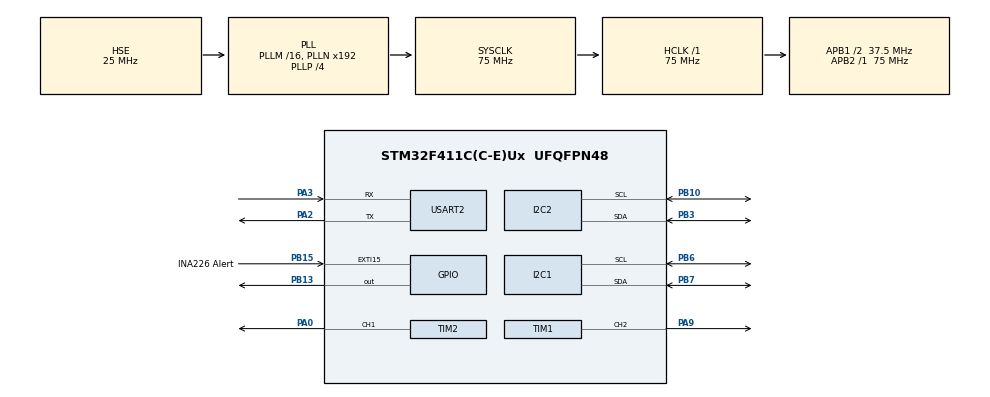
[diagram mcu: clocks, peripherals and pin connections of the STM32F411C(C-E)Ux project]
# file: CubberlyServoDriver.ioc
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FREERTOS.Tasks01=defaultTask,0,128,StartDefaultTask,Default,NULL,Dynamic,NULL,NULL;ina226Alert,-3,128,ina226AlertInit,Default,NULL,Dynamic,NULL,NULL
FREERTOS.configTIMER_TASK_PRIORITY=1
FREERTOS.configUSE_NEWLIB_REENTRANT=1
FREERTOS.configUSE_TIMERS=1
I2C1.OwnAddress=0x12
Mcu.Family=STM32F4
Mcu.Name=STM32F411C(C-E)Ux
Mcu.Package=UFQFPN48
NVIC.EXTI15_10_IRQn=true\:5\:0\:true\:false\:true\:true\:true\:true\:true
NVIC.I2C1_ER_IRQn=true\:5\:0\:false\:false\:true\:true\:true\:true\:true
NVIC.I2C1_EV_IRQn=true\:5\:0\:false\:false\:true\:true\:true\:true\:true
NVIC.I2C2_ER_IRQn=true\:5\:0\:false\:false\:true\:true\:true\:true\:true
NVIC.I2C2_EV_IRQn=true\:5\:0\:false\:false\:true\:true\:true\:true\:true
NVIC.PriorityGroup=NVIC_PRIORITYGROUP_4
NVIC.TIM5_IRQn=true\:15\:0\:false\:false\:true\:false\:false\:true\:true
NVIC.TimeBase=TIM5_IRQn
NVIC.TimeBaseIP=TIM5
PA0-WKUP.Signal=S_TIM2_CH1_ETR
PA2.Mode=Asynchronous
PA2.Signal=USART2_TX
PA3.Mode=Asynchronous
PA3.Signal=USART2_RX
PA9.Signal=S_TIM1_CH2
PB10.Mode=I2C
PB10.Signal=I2C2_SCL
PB13.GPIO_ModeDefaultOutputPP=GPIO_MODE_OUTPUT_PP
PB13.Signal=GPIO_Output
PB15.GPIO_Label=INA226 Alert
PB15.GPIO_ModeDefaultEXTI=GPIO_MODE_IT_FALLING
PB15.GPIO_PuPd=GPIO_PULLUP
PB15.Signal=GPXTI15
PB3.Mode=I2C
PB3.Signal=I2C2_SDA
PB6.Mode=I2C
PB6.Signal=I2C1_SCL
PB7.Mode=I2C
PB7.Signal=I2C1_SDA
PH0\ -\ OSC_IN.Mode=HSE-External-Oscillator
PH0\ -\ OSC_IN.Signal=RCC_OSC_IN
PH1\ -\ OSC_OUT.Mode=HSE-External-Oscillator
PH1\ -\ OSC_OUT.Signal=RCC_OSC_OUT
ProjectManager.HeapSize=0x200
ProjectManager.StackSize=0x400
ProjectManager.TargetToolchain=STM32CubeIDE
RCC.48MHZClocksFreq_Value=75000000
RCC.AHBFreq_Value=75000000
RCC.APB1CLKDivider=RCC_HCLK_DIV2
RCC.APB1Freq_Value=37500000
RCC.APB1TimFreq_Value=75000000
RCC.APB2Freq_Value=75000000
RCC.APB2TimFreq_Value=75000000
RCC.CortexFreq_Value=75000000
RCC.HCLKFreq_Value=75000000
RCC.HSE_VALUE=25000000
RCC.HSI_VALUE=16000000
RCC.LSE_VALUE=32768
RCC.PLLP=RCC_PLLP_DIV4
RCC.PLLSourceVirtual=RCC_PLLSOURCE_HSE
RCC.SYSCLKFreq_VALUE=75000000
RCC.SYSCLKSource=RCC_SYSCLKSOURCE_PLLCLK
RCC.VCOOutputFreq_Value=300000000
SH.S_TIM1_CH2.0=TIM1_CH2,PWM Generation2 CH2
SH.S_TIM2_CH1_ETR.0=TIM2_CH1,PWM Generation1 CH1
TIM1.Channel-PWM\ Generation2\ CH2=TIM_CHANNEL_2
TIM1.Period=4095
TIM1.Prescaler=365
TIM2.Channel-PWM\ Generation1\ CH1=TIM_CHANNEL_1
TIM2.Period=4095
TIM2.Prescaler=365
USART2.VirtualMode=VM_ASYNC
VP_FREERTOS_VS_CMSIS_V1.Mode=CMSIS_V1
VP_SYS_VS_tim5.Mode=TIM5
VP_TIM1_VS_ClockSourceINT.Mode=Internal
board=custom

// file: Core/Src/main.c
/* USER CODE BEGIN Header */
/**
  ******************************************************************************
  * @file           : main.c
  * @brief          : Main program body
  ******************************************************************************
  * @attention
  *
  * Copyright (c) 2025 STMicroelectronics.
  * All rights reserved.
  *
  * This software is licensed under terms that can be found in the LICENSE file
  * in the root directory of this software component.
  * If no LICENSE file comes with this software, it is provided AS-IS.
  *
  ******************************************************************************
  */
/* USER CODE END Header */
#include "main.h"
#include "cmsis_os.h"

/* USER CODE BEGIN Includes */
#include "pwmManager.h"
#include "power_sensor.h"
#include <stdio.h>

/* USER CODE END Includes */

I2C_HandleTypeDef hi2c1;
I2C_HandleTypeDef hi2c2;

TIM_HandleTypeDef htim1;
TIM_HandleTypeDef htim2;

UART_HandleTypeDef huart2;

osThreadId defaultTaskHandle;
osThreadId ina226AlertHandle;
/* USER CODE BEGIN PV */

TimerHandle_t ledTimer;
void timerCall(TimerHandle_t timer);

/* USER CODE END PV */

void SystemClock_Config(void);
static void MX_GPIO_Init(void);
static void MX_I2C1_Init(void);
static void MX_TIM1_Init(void);
static void MX_TIM2_Init(void);
static void MX_I2C2_Init(void);
static void MX_USART2_UART_Init(void);
void StartDefaultTask(void const * argument);
void ina226AlertInit(void const * argument);

/* USER CODE BEGIN PFP */

#ifdef __GNUC__
#define PUTCHAR_PROTOTYPE int __io_putchar(int ch)
#else
#define PUTCHAR_PROTOTYPE int fputc(int ch, FILE *f)
#endif

PUTCHAR_PROTOTYPE
{
  HAL_UART_Transmit(&huart2, (uint8_t *)&ch, 1, HAL_MAX_DELAY);
  return ch;
}

/* USER CODE END PFP */

int main(void)
{

  /* MCU Configuration--------------------------------------------------------*/

  /* Reset of all peripherals, Initializes the Flash interface and the Systick. */
  HAL_Init();

  /* Configure the system clock */
  SystemClock_Config();

  /* Initialize all configured peripherals */
  MX_GPIO_Init();
  MX_I2C1_Init();
  MX_TIM1_Init();
  MX_TIM2_Init();
  MX_I2C2_Init();
  MX_USART2_UART_Init();
  /* USER CODE BEGIN 2 */

  servo_init();
  initialize_all_ina();
  if( HAL_I2C_EnableListen_IT( &hi2c1 ) != HAL_OK ){
	  Error_Handler();
  }

  ledTimer = xTimerCreate(
		  "led",
		  pdMS_TO_TICKS(3000),
		  pdFALSE,
		  NULL,
		  timerCall
  );

  /* USER CODE END 2 */

  /* Create the thread(s) */
  /* definition and creation of defaultTask */
  osThreadDef(defaultTask, StartDefaultTask, osPriorityNormal, 0, 128);
  defaultTaskHandle = osThreadCreate(osThread(defaultTask), NULL);

  /* definition and creation of ina226Alert */
  osThreadDef(ina226Alert, ina226AlertInit, osPriorityIdle, 0, 128);
  ina226AlertHandle = osThreadCreate(osThread(ina226Alert), NULL);

  /* Start scheduler */
  osKernelStart();

  /* We should never get here as control is now taken by the scheduler */

  /* Infinite loop */
  while (1)
  {

  }
}

void SystemClock_Config(void)
{
  RCC_OscInitTypeDef RCC_OscInitStruct = {0};
  RCC_ClkInitTypeDef RCC_ClkInitStruct = {0};

  /** Configure the main internal regulator output voltage
  */
  __HAL_RCC_PWR_CLK_ENABLE();
  __HAL_PWR_VOLTAGESCALING_CONFIG(PWR_REGULATOR_VOLTAGE_SCALE1);

  /** Initializes the RCC Oscillators according to the specified parameters
  * in the RCC_OscInitTypeDef structure.
  */
  RCC_OscInitStruct.OscillatorType = RCC_OSCILLATORTYPE_HSE;
  RCC_OscInitStruct.HSEState = RCC_HSE_ON;
  RCC_OscInitStruct.PLL.PLLState = RCC_PLL_ON;
  RCC_OscInitStruct.PLL.PLLSource = RCC_PLLSOURCE_HSE;
  RCC_OscInitStruct.PLL.PLLM = 16;
  RCC_OscInitStruct.PLL.PLLN = 192;
  RCC_OscInitStruct.PLL.PLLP = RCC_PLLP_DIV4;
  RCC_OscInitStruct.PLL.PLLQ = 4;
  if (HAL_RCC_OscConfig(&RCC_OscInitStruct) != HAL_OK)
  {
    Error_Handler();
  }

  /** Initializes the CPU, AHB and APB buses clocks
  */
  RCC_ClkInitStruct.ClockType = RCC_CLOCKTYPE_HCLK|RCC_CLOCKTYPE_SYSCLK
                              |RCC_CLOCKTYPE_PCLK1|RCC_CLOCKTYPE_PCLK2;
  RCC_ClkInitStruct.SYSCLKSource = RCC_SYSCLKSOURCE_PLLCLK;
  RCC_ClkInitStruct.AHBCLKDivider = RCC_SYSCLK_DIV1;
  RCC_ClkInitStruct.APB1CLKDivider = RCC_HCLK_DIV2;
  RCC_ClkInitStruct.APB2CLKDivider = RCC_HCLK_DIV1;

  if (HAL_RCC_ClockConfig(&RCC_ClkInitStruct, FLASH_LATENCY_2) != HAL_OK)
  {
    Error_Handler();
  }
}

static void MX_I2C1_Init(void)
{

  hi2c1.Instance = I2C1;
  hi2c1.Init.ClockSpeed = 100000;
  hi2c1.Init.DutyCycle = I2C_DUTYCYCLE_2;
  hi2c1.Init.OwnAddress1 = 36;
  hi2c1.Init.AddressingMode = I2C_ADDRESSINGMODE_7BIT;
  hi2c1.Init.DualAddressMode = I2C_DUALADDRESS_DISABLE;
  hi2c1.Init.OwnAddress2 = 0;
  hi2c1.Init.GeneralCallMode = I2C_GENERALCALL_DISABLE;
  hi2c1.Init.NoStretchMode = I2C_NOSTRETCH_DISABLE;
  if (HAL_I2C_Init(&hi2c1) != HAL_OK)
  {
    Error_Handler();
  }

}

static void MX_I2C2_Init(void)
{

  hi2c2.Instance = I2C2;
  hi2c2.Init.ClockSpeed = 100000;
  hi2c2.Init.DutyCycle = I2C_DUTYCYCLE_2;
  hi2c2.Init.OwnAddress1 = 0;
  hi2c2.Init.AddressingMode = I2C_ADDRESSINGMODE_7BIT;
  hi2c2.Init.DualAddressMode = I2C_DUALADDRESS_DISABLE;
  hi2c2.Init.OwnAddress2 = 0;
  hi2c2.Init.GeneralCallMode = I2C_GENERALCALL_DISABLE;
  hi2c2.Init.NoStretchMode = I2C_NOSTRETCH_DISABLE;
  if (HAL_I2C_Init(&hi2c2) != HAL_OK)
  {
    Error_Handler();
  }

}

static void MX_TIM1_Init(void)
{

  TIM_ClockConfigTypeDef sClockSourceConfig = {0};
  TIM_MasterConfigTypeDef sMasterConfig = {0};
  TIM_OC_InitTypeDef sConfigOC = {0};
  TIM_BreakDeadTimeConfigTypeDef sBreakDeadTimeConfig = {0};

  htim1.Instance = TIM1;
  htim1.Init.Prescaler = 365;
  htim1.Init.CounterMode = TIM_COUNTERMODE_UP;
  htim1.Init.Period = 4095;
  htim1.Init.ClockDivision = TIM_CLOCKDIVISION_DIV1;
  htim1.Init.RepetitionCounter = 0;
  htim1.Init.AutoReloadPreload = TIM_AUTORELOAD_PRELOAD_DISABLE;
  if (HAL_TIM_Base_Init(&htim1) != HAL_OK)
  {
    Error_Handler();
  }
  sClockSourceConfig.ClockSource = TIM_CLOCKSOURCE_INTERNAL;
  if (HAL_TIM_ConfigClockSource(&htim1, &sClockSourceConfig) != HAL_OK)
  {
    Error_Handler();
  }
  if (HAL_TIM_PWM_Init(&htim1) != HAL_OK)
  {
    Error_Handler();
  }
  sMasterConfig.MasterOutputTrigger = TIM_TRGO_RESET;
  sMasterConfig.MasterSlaveMode = TIM_MASTERSLAVEMODE_DISABLE;
  if (HAL_TIMEx_MasterConfigSynchronization(&htim1, &sMasterConfig) != HAL_OK)
  {
    Error_Handler();
  }
  sConfigOC.OCMode = TIM_OCMODE_PWM1;
  sConfigOC.Pulse = 0;
  sConfigOC.OCPolarity = TIM_OCPOLARITY_HIGH;
  sConfigOC.OCNPolarity = TIM_OCNPOLARITY_HIGH;
  sConfigOC.OCFastMode = TIM_OCFAST_DISABLE;
  sConfigOC.OCIdleState = TIM_OCIDLESTATE_RESET;
  sConfigOC.OCNIdleState = TIM_OCNIDLESTATE_RESET;
  if (HAL_TIM_PWM_ConfigChannel(&htim1, &sConfigOC, TIM_CHANNEL_2) != HAL_OK)
  {
    Error_Handler();
  }
  sBreakDeadTimeConfig.OffStateRunMode = TIM_OSSR_DISABLE;
  sBreakDeadTimeConfig.OffStateIDLEMode = TIM_OSSI_DISABLE;
  sBreakDeadTimeConfig.LockLevel = TIM_LOCKLEVEL_OFF;
  sBreakDeadTimeConfig.DeadTime = 0;
  sBreakDeadTimeConfig.BreakState = TIM_BREAK_DISABLE;
  sBreakDeadTimeConfig.BreakPolarity = TIM_BREAKPOLARITY_HIGH;
  sBreakDeadTimeConfig.AutomaticOutput = TIM_AUTOMATICOUTPUT_DISABLE;
  if (HAL_TIMEx_ConfigBreakDeadTime(&htim1, &sBreakDeadTimeConfig) != HAL_OK)
  {
    Error_Handler();
  }
  HAL_TIM_MspPostInit(&htim1);

}

static void MX_TIM2_Init(void)
{

  TIM_MasterConfigTypeDef sMasterConfig = {0};
  TIM_OC_InitTypeDef sConfigOC = {0};

  htim2.Instance = TIM2;
  htim2.Init.Prescaler = 365;
  htim2.Init.CounterMode = TIM_COUNTERMODE_UP;
  htim2.Init.Period = 4095;
  htim2.Init.ClockDivision = TIM_CLOCKDIVISION_DIV1;
  htim2.Init.AutoReloadPreload = TIM_AUTORELOAD_PRELOAD_DISABLE;
  if (HAL_TIM_PWM_Init(&htim2) != HAL_OK)
  {
    Error_Handler();
  }
  sMasterConfig.MasterOutputTrigger = TIM_TRGO_RESET;
  sMasterConfig.MasterSlaveMode = TIM_MASTERSLAVEMODE_DISABLE;
  if (HAL_TIMEx_MasterConfigSynchronization(&htim2, &sMasterConfig) != HAL_OK)
  {
    Error_Handler();
  }
  sConfigOC.OCMode = TIM_OCMODE_PWM1;
  sConfigOC.Pulse = 0;
  sConfigOC.OCPolarity = TIM_OCPOLARITY_HIGH;
  sConfigOC.OCFastMode = TIM_OCFAST_DISABLE;
  if (HAL_TIM_PWM_ConfigChannel(&htim2, &sConfigOC, TIM_CHANNEL_1) != HAL_OK)
  {
    Error_Handler();
  }
  HAL_TIM_MspPostInit(&htim2);

}

static void MX_USART2_UART_Init(void)
{

  huart2.Instance = USART2;
  huart2.Init.BaudRate = 115200;
  huart2.Init.WordLength = UART_WORDLENGTH_8B;
  huart2.Init.StopBits = UART_STOPBITS_1;
  huart2.Init.Parity = UART_PARITY_NONE;
  huart2.Init.Mode = UART_MODE_TX_RX;
  huart2.Init.HwFlowCtl = UART_HWCONTROL_NONE;
  huart2.Init.OverSampling = UART_OVERSAMPLING_16;
  if (HAL_UART_Init(&huart2) != HAL_OK)
  {
    Error_Handler();
  }

}

static void MX_GPIO_Init(void)
{
  GPIO_InitTypeDef GPIO_InitStruct = {0};

  /* GPIO Ports Clock Enable */
  __HAL_RCC_GPIOH_CLK_ENABLE();
  __HAL_RCC_GPIOA_CLK_ENABLE();
  __HAL_RCC_GPIOB_CLK_ENABLE();

  /*Configure GPIO pin Output Level */
  HAL_GPIO_WritePin(GPIOB, GPIO_PIN_13, GPIO_PIN_RESET);

  /*Configure GPIO pin : PB13 */
  GPIO_InitStruct.Pin = GPIO_PIN_13;
  GPIO_InitStruct.Mode = GPIO_MODE_OUTPUT_PP;
  GPIO_InitStruct.Pull = GPIO_NOPULL;
  GPIO_InitStruct.Speed = GPIO_SPEED_FREQ_LOW;
  HAL_GPIO_Init(GPIOB, &GPIO_InitStruct);

  /*Configure GPIO pin : INA226_Alert_Pin */
  GPIO_InitStruct.Pin = INA226_Alert_Pin;
  GPIO_InitStruct.Mode = GPIO_MODE_IT_FALLING;
  GPIO_InitStruct.Pull = GPIO_PULLUP;
  HAL_GPIO_Init(INA226_Alert_GPIO_Port, &GPIO_InitStruct);

  /* EXTI interrupt init*/
  HAL_NVIC_SetPriority(EXTI15_10_IRQn, 5, 0);
  HAL_NVIC_EnableIRQ(EXTI15_10_IRQn);

}

/* USER CODE BEGIN 4 */
void timerCall(TimerHandle_t timer){
	HAL_GPIO_WritePin(GPIOB, GPIO_PIN_13, GPIO_PIN_RESET);
}
/* USER CODE END 4 */

void StartDefaultTask(void const * argument)
{
  for(;;)
  {
    osDelay(1);
  }
}

void ina226AlertInit(void const * argument)
{
  /* USER CODE BEGIN ina226AlertInit */
  /* Infinite loop */
  for(;;)
  {
    ulTaskNotifyTake(pdTRUE, portMAX_DELAY);
	debugVals((0x40 << 1));
	HAL_GPIO_WritePin(GPIOB, GPIO_PIN_13, GPIO_PIN_SET);
	xTimerResetFromISR(ledTimer, NULL);
    osDelay(1);
  }
  /* USER CODE END ina226AlertInit */
}

void HAL_TIM_PeriodElapsedCallback(TIM_HandleTypeDef *htim)
{
  if (htim->Instance == TIM5)
  {
    HAL_IncTick();
  }
}

void Error_Handler(void)
{
  __disable_irq();
  while (1)
  {
  }
}
